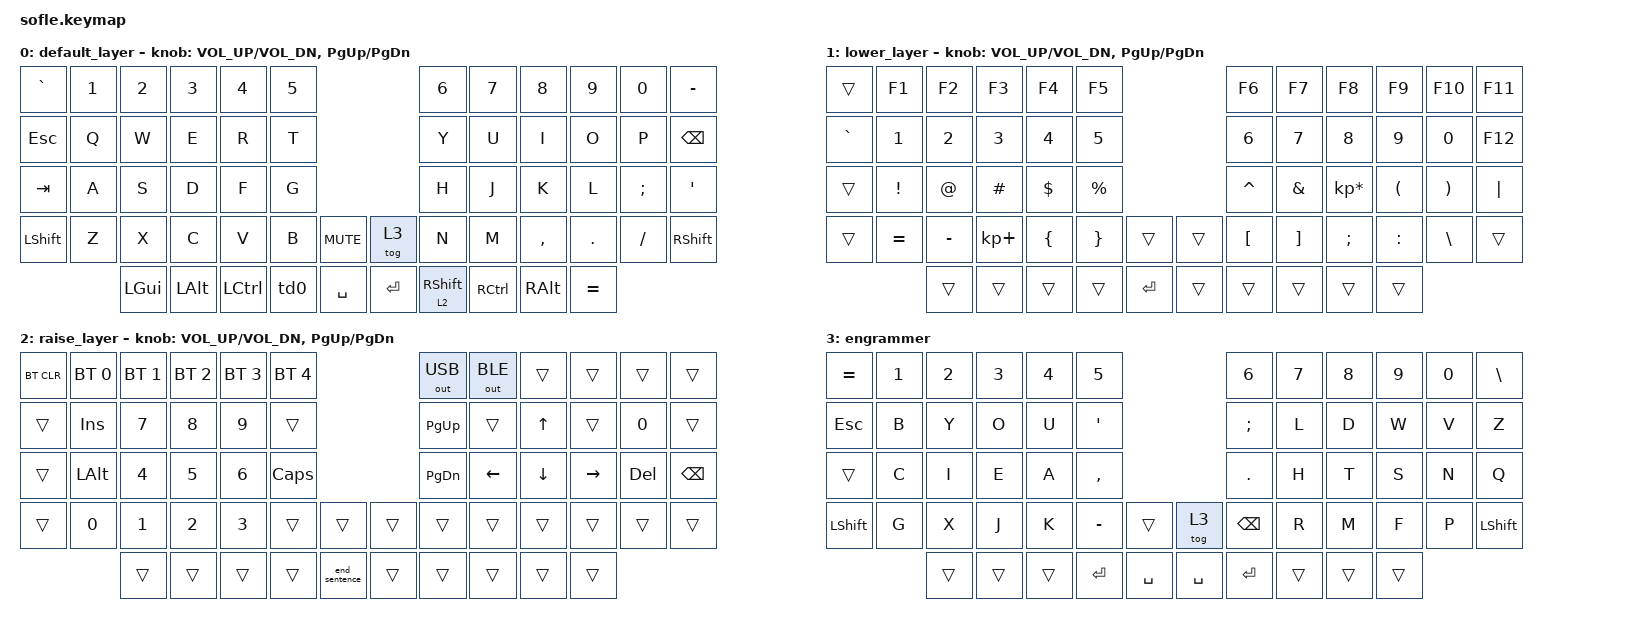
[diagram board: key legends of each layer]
/*
 * Copyright (c) 2020 The ZMK Contributors
 *
 * SPDX-License-Identifier: MIT
 */

#include <behaviors.dtsi>
#include <dt-bindings/zmk/bt.h>
#include <dt-bindings/zmk/keys.h>
#include <dt-bindings/zmk/outputs.h>

&sk {
    release-after-ms = <2000>;
    quick-release;
};

&caps_word {
    continue-list = <UNDERSCORE MINUS>;
};

/ {
    macros {
        end_sentence: end_sentence {
            compatible = "zmk,behavior-macro";
            #binding-cells = <0>;
            bindings = <&kp DOT &kp SPACE &sk LSHIFT>;
        };
    };

    behaviors {
        slt: sticky_layer_tap {
            compatible = "zmk,behavior-hold-tap";
            #binding-cells = <2>;
            flavor = "tap-preferred";
            tapping-term-ms = <200>;
            bindings = <&mo>, <&sk>;
        };
        td0: tap_dance_0 {
            compatible = "zmk,behavior-tap-dance";
            #binding-cells = <0>;
            tapping-term-ms = <200>;
            bindings = <&mo 1>, <&tog 2>;
        };
    };

    combos {
        compatible = "zmk,combos";

        combo_doubleshift {
            timeout-ms = <150>;
            key-positions = <36 49>;
            bindings = <&caps_word>;
        };

        combo_shifttab {
            timeout-ms = <150>;
            key-positions = <56 57>;
            bindings = <&caps_word>;
        };

        combo_underscore {
            timeout-ms = <50>;
            key-positions = <46 47>;
            bindings = <&kp UNDERSCORE>;
        };

        reset_layer {
            timeout-ms = <150>;
            key-positions = <1 12>;
            bindings = <&to 0>;
        };
    };

    keymap {
        compatible = "zmk,keymap";

        default_layer {
            // ------------------------------------------------------------------------------------------------------------
            // |  `    |  1  |  2  |  3   |  4   |  5   |                         |  6   |  7    |  8    |  9   |   0   |   -   |
            // |  ESC  |  Q  |  W  |  E   |  R   |  T   |                         |  Y   |  U    |  I    |  O   |   P   | BKSPC |
            // |  TAB  |  A  |  S  |  D   |  F   |  G   |                         |  H   |  J    |  K    |  L   |   ;   |   '   |
            // | SHIFT |  Z  |  X  |  C   |  V   |  B   |  MUTE  |        | ExtPw |  N   |  M    |  ,    |  .   |   /   | SHIFT |
            //               | GUI | ALT  | CTRL | LOWER|  ENTER |        | SPACE | RAISE| CTRL  | ALT   | GUI  |

            bindings = <
&kp GRAVE  &kp N1  &kp N2    &kp N3    &kp N4     &kp N5                                 &kp N6          &kp N7     &kp N8     &kp N9     &kp N0    &kp MINUS
&kp ESC    &kp Q   &kp W     &kp E     &kp R      &kp T                                  &kp Y           &kp U      &kp I      &kp O      &kp P     &kp BSPC
&kp TAB    &kp A   &kp S     &kp D     &kp F      &kp G                                  &kp H           &kp J      &kp K      &kp L      &kp SEMI  &kp SQT
&kp LSHFT  &kp Z   &kp X     &kp C     &kp V      &kp B           &kp C_MUTE    &tog 3   &kp N           &kp M      &kp COMMA  &kp DOT    &kp FSLH  &kp RSHFT
                   &kp LGUI  &kp LALT  &kp LCTRL  &td0            &kp SPACE     &kp RET  &slt 2 RSHIFT   &kp RCTRL  &kp RALT   &kp EQUAL
            >;

            sensor-bindings = <&inc_dec_kp C_VOL_UP C_VOL_DN &inc_dec_kp PG_UP PG_DN>;
        };

        lower_layer {
            // TODO: Some binds are waiting for shifted keycode support.
            // ------------------------------------------------------------------------------------------------------------
            // |       |  F1 |  F2 |  F3  |  F4  |  F5  |                   |  F6  |  F7   |  F8   |  F9  |  F10  |  F11  |
            // | `     |   1 |   2 |   3  |   4  |   5  |                   |   6  |   7   |   8   |   9  |    0  |  F12  |
            // |       |  !  |  @  |  #   |  $   |  %   |                   |  ^   |  &    |  *    |  (   |   )   |   |   |
            // |       |  =  |  -  |  +   |  {   |  }   |        |  |       |  [   |  ]    |  ;    |  :   |   \   |       |
            //               |     |      |      |      |        |  |       |      |       |       |      |

            bindings = <
&trans     &kp F1     &kp F2     &kp F3       &kp F4    &kp F5                            &kp F6     &kp F7    &kp F8           &kp F9     &kp F10   &kp F11
&kp GRAVE  &kp N1     &kp N2     &kp N3       &kp N4    &kp N5                            &kp N6     &kp N7    &kp N8           &kp N9     &kp N0    &kp F12
&trans     &kp EXCL   &kp AT     &kp HASH     &kp DLLR  &kp PRCNT                         &kp CARET  &kp AMPS  &kp KP_MULTIPLY  &kp LPAR   &kp RPAR  &kp PIPE
&trans     &kp EQUAL  &kp MINUS  &kp KP_PLUS  &kp LBRC  &kp RBRC   &trans         &trans  &kp LBKT   &kp RBKT  &kp SEMI         &kp COLON  &kp BSLH  &trans
                      &trans     &trans       &trans    &trans     &kp RET        &trans  &trans     &trans    &trans           &trans
            >;

            sensor-bindings = <&inc_dec_kp C_VOL_UP C_VOL_DN &inc_dec_kp PG_UP PG_DN>;
        };

        raise_layer {
            // ------------------------------------------------------------------------------------------------------------
            // |BTCLR| BT1  | BT2  |  BT3  |  BT4  |  BT5 |                |      |      |       |      |       |       |
            // |     | INS  |   7  |    8  |    9  |      |                | PGUP |      |   ^   |      |       |       |
            // |     | ALT  |   4  |    5  |    6  | CAPS |                | PGDN |   <- |   v   |  ->  |  DEL  | BKSPC |
            // |     |   0  |   1  |    2  |    3  |      |      |  |      |      |      |       |      |       |       |
            //              |      |       |       |      |      |  |      |      |      |       |      |

            bindings = <
&bt BT_CLR  &bt BT_SEL 0  &bt BT_SEL 1  &bt BT_SEL 2  &bt BT_SEL 3  &bt BT_SEL 4                         &out OUT_USB  &out OUT_BLE  &trans    &trans     &trans   &trans
&trans      &kp INS       &kp N7        &kp N8        &kp N9        &trans                               &kp PG_UP     &trans        &kp UP    &trans     &kp N0   &trans
&trans      &kp LALT      &kp N4        &kp N5        &kp N6        &kp CLCK                             &kp PG_DN     &kp LEFT      &kp DOWN  &kp RIGHT  &kp DEL  &kp BSPC
&trans      &kp N0        &kp N1        &kp N2        &kp N3        &trans        &trans         &trans  &trans        &trans        &trans    &trans     &trans   &trans
                          &trans        &trans        &trans        &trans        &end_sentence  &trans  &trans        &trans        &trans    &trans
            >;

            sensor-bindings = <&inc_dec_kp C_VOL_UP C_VOL_DN &inc_dec_kp PG_UP PG_DN>;
        };

        engrammer {
            bindings = <
&kp EQUAL  &kp N1  &kp N2  &kp N3  &kp N4  &kp N5                             &kp N6    &kp N7  &kp N8  &kp N9  &kp N0  &kp BSLH
&kp ESC    &kp B   &kp Y   &kp O   &kp U   &kp SQT                            &kp SEMI  &kp L   &kp D   &kp W   &kp V   &kp Z
&trans     &kp C   &kp I   &kp E   &kp A   &kp COMMA                          &kp DOT   &kp H   &kp T   &kp S   &kp N   &kp Q
&kp LSHFT  &kp G   &kp X   &kp J   &kp K   &kp MINUS  &trans       &tog 3     &kp BSPC  &kp R   &kp M   &kp F   &kp P   &kp LSHFT
                   &trans  &trans  &trans  &kp RET    &kp SPACE    &kp SPACE  &kp RET   &trans  &trans  &trans
            >;
        };
    };
};
